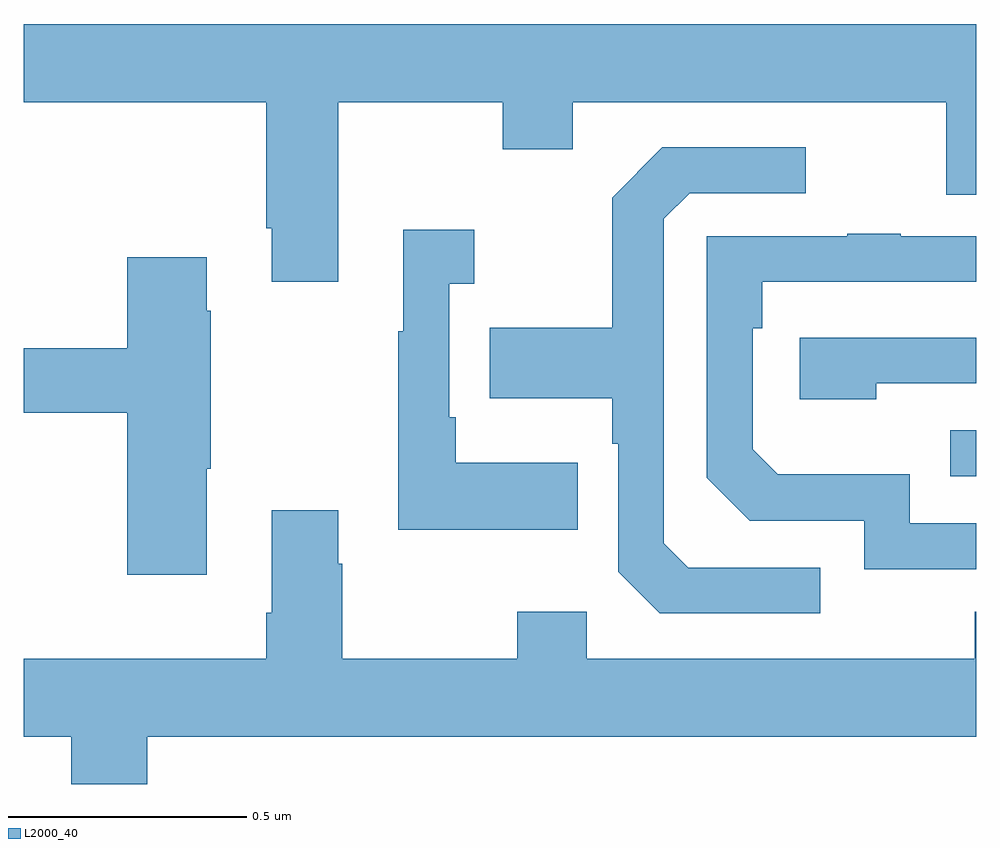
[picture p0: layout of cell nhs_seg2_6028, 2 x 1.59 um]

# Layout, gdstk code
import gdstk
lib = gdstk.Library(unit=1e-6, precision=1e-09)
def R(c, l, rs):  # rectangles x0, y0, x1, y1
    for r in rs: c.add(gdstk.rectangle(r[:2], r[2:], *l))
def P(c, l, *ps):  # polygons
    for p in ps: c.add(gdstk.Polygon(p, *l))
L2000_40 = (2000, 40)

nhs_seg2_6028 = lib.new_cell('nhs_seg2_6028')
R(nhs_seg2_6028, L2000_40, [(187.945,633.531,188,633.627)])
P(nhs_seg2_6028, L2000_40, [(186.661,634.316),(187.006,634.316),(187.006,634.217),(187.153,634.217),(187.153,634.316),(187.937,634.316),(187.937,634.122),(188,634.122),(188,634.48),(186,634.48),(186,634.316),(186.509,634.316),(186.509,634.051),(186.521,634.051),(186.521,633.939),(186.661,633.939)],
  [(187.672,633.339),(187.395,633.339),(187.344,633.39),(187.344,634.071),(187.398,634.125),(187.642,634.125),(187.642,634.221),(187.341,634.221),(187.236,634.115),(187.236,633.843),(186.979,633.843),(186.979,633.695),(187.236,633.695),(187.236,633.599),(187.248,633.599),(187.248,633.33),(187.335,633.243),(187.672,633.243)],
  [(187.163,633.559),(186.907,633.559),(186.907,633.655),(186.894,633.655),(186.894,633.935),(186.946,633.935),(186.946,634.048),(186.797,634.048),(186.797,633.835),(186.786,633.835),(186.786,633.419),(187.163,633.419)],
  [(188,633.432),(187.86,633.432),(187.86,633.535),(187.583,633.535),(187.53,633.588),(187.53,633.842),(187.55,633.842),(187.55,633.939),(188,633.939),(188,634.035),(187.841,634.035),(187.841,634.04),(187.729,634.04),(187.729,634.035),(187.434,634.035),(187.434,633.528),(187.524,633.438),(187.764,633.438),(187.764,633.336),(188,633.336)],
  [(186.385,633.547),(186.393,633.547),(186.393,633.878),(186.385,633.878),(186.385,633.991),(186.218,633.991),(186.218,633.8),(186,633.8),(186,633.664),(186.218,633.664),(186.218,633.324),(186.385,633.324)],
  [(187.79,633.726),(188,633.726),(188,633.822),(187.629,633.822),(187.629,633.692),(187.79,633.692)],
  [(186.26,632.984),(188,632.984),(188,633.247),(187.996,633.247),(187.996,633.148),(187.182,633.148),(187.182,633.247),(187.036,633.247),(187.036,633.148),(186.669,633.148),(186.669,633.347),(186.661,633.347),(186.661,633.46),(186.521,633.46),(186.521,633.244),(186.509,633.244),(186.509,633.148),(186,633.148),(186,632.984),(186.1,632.984),(186.1,632.885),(186.26,632.885)])

lib.write_gds('nhs_seg2_6028.gds')
